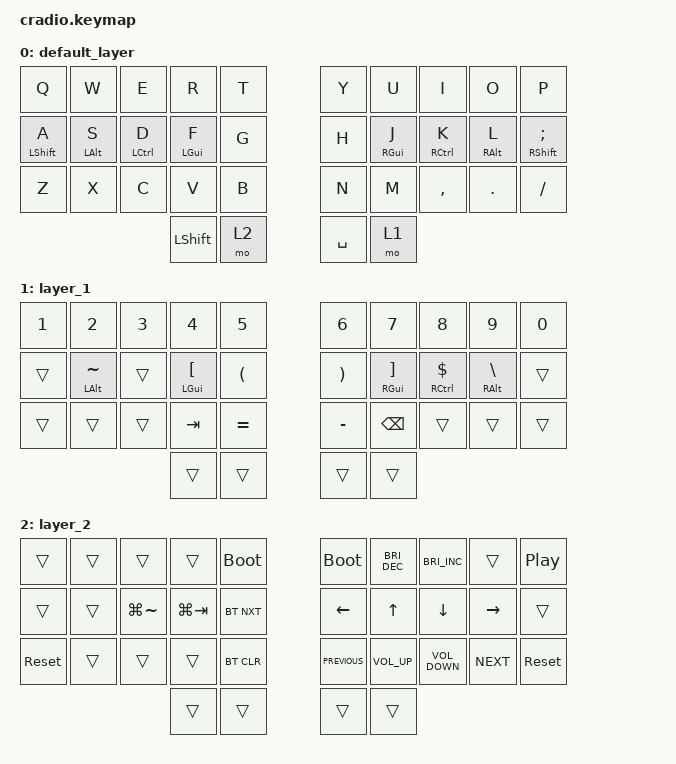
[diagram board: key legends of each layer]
// Copyright (c) 2022 The ZMK Contributors
// SPDX-License-Identifier: MIT

#include <behaviors.dtsi>
#include <dt-bindings/zmk/bt.h>
#include <dt-bindings/zmk/keys.h>

/ {
    combos {
        compatible = "zmk,combos";

        combo_sqt {
            bindings = <&kp SQT>;
            key-positions = <7 6>;
            timeout-ms = <100>;
        };

        combo_enter {
            bindings = <&kp ENTER>;
            key-positions = <27 26>;
            timeout-ms = <100>;
        };

        combo_esc {
            bindings = <&kp ESCAPE>;
            key-positions = <17 16>;
            timeout-ms = <100>;
        };
    };

    keymap {
        compatible = "zmk,keymap";

        default_layer {
            bindings = <
&kp Q             &kp W           &kp E               &kp R           &kp T    &kp Y      &kp U            &kp I                &kp O            &kp P
&mt LEFT_SHIFT A  &mt LEFT_ALT S  &mt LEFT_CONTROL D  &mt LEFT_GUI F  &kp G    &kp H      &mt RIGHT_GUI J  &mt RIGHT_CONTROL K  &mt RIGHT_ALT L  &mt RIGHT_SHIFT SEMICOLON
&kp Z             &kp X           &kp C               &kp V           &kp B    &kp N      &kp M            &kp COMMA            &kp DOT          &kp FSLH
                                                      &kp LEFT_SHIFT  &mo 2    &kp SPACE  &mo 1
            >;
        };

        layer_1 {
            bindings = <
&kp NUMBER_1  &kp NUMBER_2        &kp NUMBER_3  &kp NUMBER_4               &kp NUMBER_5            &kp NUMBER_6           &kp NUMBER_7                 &kp NUMBER_8              &kp NUMBER_9             &kp NUMBER_0
&trans        &mt LEFT_ALT TILDE  &trans        &mt LEFT_GUI LEFT_BRACKET  &kp LEFT_PARENTHESIS    &kp RIGHT_PARENTHESIS  &mt RIGHT_GUI RIGHT_BRACKET  &mt RIGHT_CONTROL DOLLAR  &mt RIGHT_ALT BACKSLASH  &trans
&trans        &trans              &trans        &kp TAB                    &kp EQUAL               &kp MINUS              &kp BACKSPACE                &trans                    &trans                   &trans
                                                &trans                     &trans                  &trans                 &trans
            >;
        };

        layer_2 {
            bindings = <
&trans      &trans  &trans         &trans       &bootloader    &bootloader     &kp C_BRI_DEC    &kp C_BRI_INC      &trans           &kp C_PLAY_PAUSE
&trans      &trans  &kp LG(TILDE)  &kp LG(TAB)  &bt BT_NXT     &kp LEFT_ARROW  &kp UP_ARROW     &kp DOWN_ARROW     &kp RIGHT_ARROW  &trans
&sys_reset  &trans  &trans         &trans       &bt BT_CLR     &kp C_PREVIOUS  &kp C_VOLUME_UP  &kp C_VOLUME_DOWN  &kp C_NEXT       &sys_reset
                                   &trans       &trans         &trans          &trans
            >;
        };
    };
};
